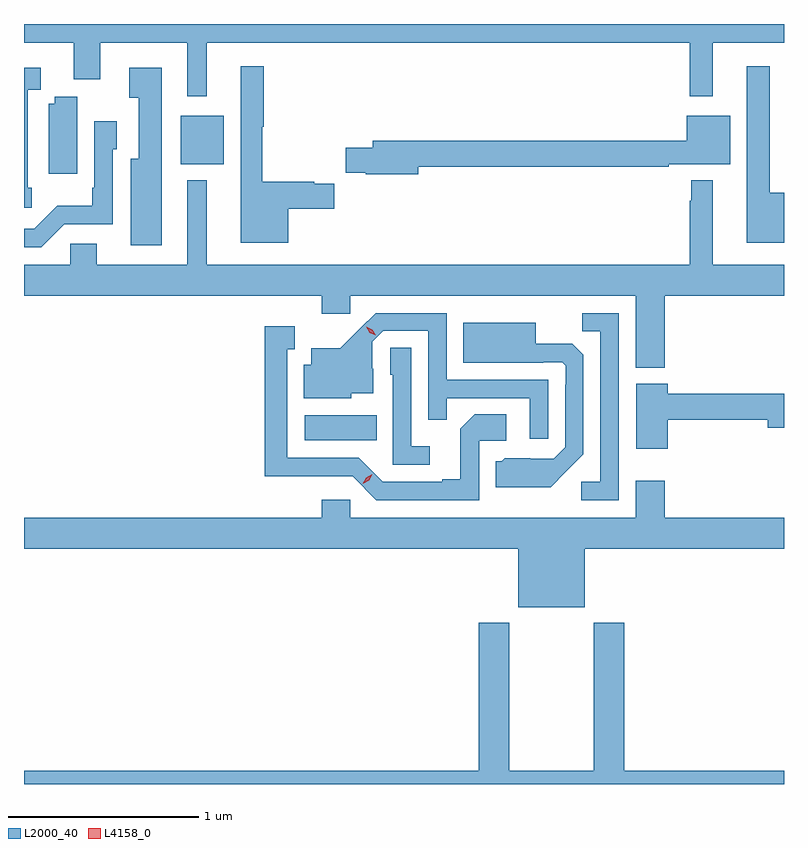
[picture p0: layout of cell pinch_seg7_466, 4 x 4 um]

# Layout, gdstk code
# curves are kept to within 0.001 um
import gdstk
lib = gdstk.Library(unit=1e-6, precision=1e-09)
def R(c, l, rs):  # rectangles x0, y0, x1, y1
    for r in rs: c.add(gdstk.rectangle(r[:2], r[2:], *l))
def P(c, l, *ps):  # polygons
    for p in ps: c.add(gdstk.Polygon(p, *l))
L2000_40 = (2000, 40)
L4158_0 = (4158, 0)

pinch_seg7_466 = lib.new_cell('pinch_seg7_466')
R(pinch_seg7_466, L2000_40, [(185.328,1062.458,185.708,1062.592), (184.676,1063.913,184.903,1064.167)])
P(pinch_seg7_466, L2000_40, [(184.813,1064.552),(187.356,1064.552),(187.356,1064.271),(187.477,1064.271),(187.477,1064.552),(187.851,1064.552),(187.851,1064.65),(183.851,1064.65),(183.851,1064.552),(184.112,1064.552),(184.112,1064.358),(184.252,1064.358),(184.252,1064.552),(184.709,1064.552),(184.709,1064.271),(184.813,1064.271)],
  [(187.851,1063.762),(187.777,1063.762),(187.777,1064.428),(187.655,1064.428),(187.655,1063.499),(187.851,1063.499)],
  [(185.242,1063.678),(185.483,1063.678),(185.483,1063.808),(185.378,1063.808),(185.378,1063.82),(185.105,1063.82),(185.105,1064.109),(185.113,1064.109),(185.113,1064.428),(184.991,1064.428),(184.991,1063.499),(185.242,1063.499)],
  [(184.576,1064.419),(184.404,1064.419),(184.404,1064.263),(184.454,1064.263),(184.454,1063.942),(184.412,1063.942),(184.412,1063.485),(184.576,1063.485)],
  [(183.893,1063.788),(183.871,1063.788),(183.871,1064.304),(183.94,1064.304),(183.94,1064.419),(183.851,1064.419),(183.851,1063.683),(183.893,1063.683)],
  [(184.132,1064.267),(184.012,1064.267),(184.012,1064.23),(183.98,1064.23),(183.98,1063.863),(184.132,1063.863)],
  [(185.926,1063.9),(187.244,1063.9),(187.244,1063.913),(187.567,1063.913),(187.567,1064.167),(187.34,1064.167),(187.34,1064.036),(185.687,1064.036),(185.687,1064),(185.545,1064),(185.545,1063.866),(185.65,1063.866),(185.65,1063.858),(185.926,1063.858)],
  [(184.062,1063.596),(184.317,1063.596),(184.317,1063.992),(184.338,1063.992),(184.338,1064.137),(184.221,1064.137),(184.221,1063.789),(184.209,1063.789),(184.209,1063.693),(184.027,1063.693),(183.906,1063.572),(183.851,1063.572),(183.851,1063.476),(183.942,1063.476)],
  [(187.223,1063.22),(187.851,1063.22),(187.851,1063.384),(187.477,1063.384),(187.477,1063.828),(187.362,1063.828),(187.362,1063.721),(187.356,1063.721),(187.356,1063.384),(184.813,1063.384),(184.813,1063.828),(184.709,1063.828),(184.709,1063.384),(184.234,1063.384),(184.234,1063.494),(184.095,1063.494),(184.095,1063.384),(183.851,1063.384),(183.851,1063.22),(185.417,1063.22),(185.417,1063.125),(185.568,1063.125),(185.568,1063.22),(187.07,1063.22),(187.07,1062.842),(187.223,1062.842)],
  [(186.981,1063.128),(186.79,1063.128),(186.79,1063.033),(186.885,1063.033),(186.885,1062.24),(186.783,1062.24),(186.783,1062.144),(186.981,1062.144)],
  [(186.609,1062.777),(186.075,1062.777),(186.075,1063.128),(185.702,1063.128),(185.515,1062.943),(185.363,1062.943),(185.363,1062.856),(185.324,1062.856),(185.324,1062.68),(185.574,1062.68),(185.574,1062.707),(185.689,1062.707),(185.689,1062.836),(185.685,1062.836),(185.685,1062.978),(185.742,1063.035),(185.979,1063.035),(185.979,1062.568),(186.077,1062.568),(186.077,1062.681),(186.513,1062.681),(186.513,1062.468),(186.609,1062.468)],
  [(186.703,1062.293),(186.795,1062.386),(186.795,1062.908),(186.736,1062.967),(186.544,1062.967),(186.544,1063.078),(186.164,1063.078),(186.164,1062.866),(186.584,1062.866),(186.584,1062.87),(186.684,1062.87),(186.702,1062.852),(186.702,1062.752),(186.699,1062.752),(186.699,1062.423),(186.639,1062.363),(186.382,1062.364),(186.366,1062.348),(186.335,1062.348),(186.335,1062.212),(186.623,1062.212)],
  [(186.246,1062.456),(186.388,1062.456),(186.388,1062.596),(186.223,1062.596),(186.147,1062.52),(186.147,1062.253),(186.053,1062.253),(186.053,1062.24),(185.739,1062.24),(185.613,1062.366),(185.236,1062.366),(185.236,1062.939),(185.275,1062.939),(185.275,1063.06),(185.118,1063.06),(185.118,1062.269),(185.58,1062.27),(185.706,1062.144),(186.246,1062.144)],
  [(185.986,1062.427),(185.889,1062.427),(185.889,1062.947),(185.778,1062.947),(185.778,1062.804),(185.793,1062.804),(185.793,1062.33),(185.986,1062.33)],
  [(187.24,1062.568),(187.766,1062.568),(187.766,1062.526),(187.851,1062.526),(187.851,1062.704),(187.24,1062.704),(187.24,1062.757),(187.073,1062.757),(187.073,1062.414),(187.24,1062.414)],
  [(186.802,1061.888),(187.851,1061.888),(187.851,1062.052),(187.223,1062.052),(187.223,1062.247),(187.07,1062.247),(187.07,1062.052),(185.568,1062.052),(185.568,1062.145),(185.417,1062.145),(185.417,1062.052),(183.851,1062.052),(183.851,1061.888),(186.452,1061.888),(186.452,1061.579),(186.802,1061.579)],
  [(187.851,1060.72),(187.01,1060.72),(187.01,1061.5),(186.85,1061.5),(186.85,1060.72),(186.405,1060.72),(186.405,1061.5),(186.245,1061.5),(186.245,1060.72),(183.851,1060.72),(183.851,1060.65),(187.851,1060.65)])
P(pinch_seg7_466, L4158_0, [(185.701,1063.011),(185.67,1063.026),(185.653,1063.056),(185.653,1063.056),(185.653,1063.056),(185.684,1063.041),(185.702,1063.011),(185.702,1063.011)],
  [(185.634,1062.23),(185.634,1062.23),(185.653,1062.262),(185.685,1062.281),(185.685,1062.281),(185.685,1062.28),(185.667,1062.248),(185.635,1062.23)])

lib.write_gds('pinch_seg7_466.gds')
